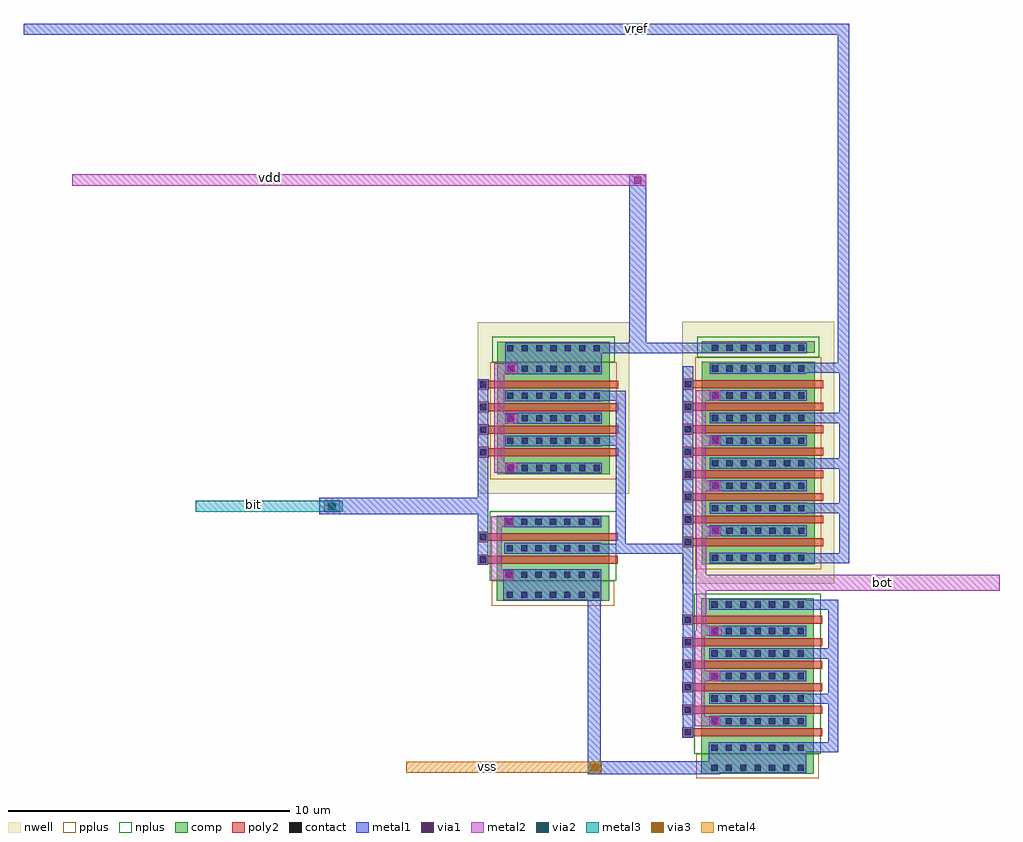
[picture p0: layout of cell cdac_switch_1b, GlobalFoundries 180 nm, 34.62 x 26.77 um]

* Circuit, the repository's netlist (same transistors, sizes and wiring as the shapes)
** sch_path: /foss/designs/chipathon26-SAR_ADC/xschem/sar_adc/blocks/cdac/cdac_switch_1b.sch
.subckt cdac_switch_1b bit vref vdd vss bot
*.PININFO bit:I vref:B vdd:B vss:B bot:B
M1 bit_b bit vdd vdd pfet_03v3 L=0.28u W=16.0u nf=4
M2 bit_b bit vss vss nfet_03v3 L=0.28u W=8.0u nf=2
M3 bot bit_b vref vdd pfet_03v3 L=0.28u W=32.0u nf=8
M6 bot bit_b vss vss nfet_03v3 L=0.28u W=24.0u nf=6
.ends

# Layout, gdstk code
import gdstk
lib = gdstk.Library(unit=1e-6, precision=1e-09)
def R(c, l, rs):  # rectangles x0, y0, x1, y1
    for r in rs: c.add(gdstk.rectangle(r[:2], r[2:], *l))
def A(c, l, x, y, w, h, nx, ny, dx, dy):  # array of equal rectangles
    R(c, l, [(x+i*dx, y+j*dy, x+i*dx+w, y+j*dy+h) for i in range(nx) for j in range(ny)])
nwell = (21, 0)
comp = (22, 0)
poly2 = (30, 0)
pplus = (31, 0)
nplus = (32, 0)
contact = (33, 0)
metal1 = (34, 0)
via1 = (35, 0)
metal2 = (36, 0)
via2 = (38, 0)
via3 = (40, 0)
metal3 = (42, 0)
metal4 = (46, 0)

gf180mcu_nfet_l_0_280_w_ = lib.new_cell('gf180mcu.nfet(L=0.280,W=2.000)')

c_gf180mcu_nfet_l_0_280_w_ = lib.new_cell('gf180mcu.nfet(L=0.280,W=4.000)')

gf180mcu_pfet_l_0_280_w_ = lib.new_cell('gf180mcu.pfet(L=0.280,W=4.000)')

c_gf180mcu_pfet_l_0_280_w_ = lib.new_cell('gf180mcu.pfet(L=0.280,W=8.000)')

cdac_switch_1b = lib.new_cell('cdac_switch_1b')
R(cdac_switch_1b, nwell, [(12.88,12.8,18.26,22.09), (5.62,15.99,11,22.08)])
R(cdac_switch_1b, comp, [(13.55,6.07,17.55,6.78), (13.55,6.78,17.55,7.2), (13.55,7.2,17.55,11.86), (13.55,11.86,17.55,12.28), (6.29,12.2,10.29,12.91), (6.29,12.91,10.29,13.33), (6.29,13.33,10.29,14.79), (13.57,13.49,17.57,13.95), (13.57,13.95,17.57,20.21), (6.29,14.79,10.29,15.21), (6.31,16.68,10.31,17.14), (6.31,17.14,10.31,20.2), (6.31,20.2,10.31,20.66), (13.57,20.21,17.57,20.67), (6.31,20.66,10.31,21.39), (13.57,20.99,17.57,21.4)])
A(cdac_switch_1b, poly2, 12.89, 7.35, 0.36, 0.36, 1, 6, 0, 0.8)
A(cdac_switch_1b, poly2, 13.25, 7.39, 4.6, 0.28, 1, 6, 0, 0.8)
A(cdac_switch_1b, poly2, 12.89, 14.09, 0.38, 0.38, 1, 8, 0, 0.8)
A(cdac_switch_1b, poly2, 13.27, 14.14, 4.6, 0.28, 1, 8, 0, 0.8)
A(cdac_switch_1b, poly2, 5.63, 17.28, 0.38, 0.38, 1, 4, 0, 0.8)
A(cdac_switch_1b, poly2, 6.01, 17.33, 4.6, 0.28, 1, 4, 0, 0.8)
R(cdac_switch_1b, poly2, [(5.63,13.48,5.99,13.84), (5.99,13.52,10.59,13.8), (5.63,14.28,5.99,14.64), (5.99,14.32,10.59,14.6)])
R(cdac_switch_1b, pplus, [(13.38,5.9,17.72,6.78), (6.12,12.03,10.46,12.91), (13.33,13.32,17.81,20.83), (6.07,16.51,10.55,20.66)])
R(cdac_switch_1b, nplus, [(13.31,6.78,17.79,12.45), (6.05,12.91,10.53,15.38), (6.14,20.66,10.48,21.56), (13.4,20.83,17.74,21.57)])
A(cdac_switch_1b, contact, 13.91, 6.17, 0.22, 0.22, 7, 2, 0.51, 0.71)
A(cdac_switch_1b, contact, 12.96, 7.42, 0.22, 0.22, 1, 6, 0, 0.8)
A(cdac_switch_1b, contact, 13.91, 7.82, 0.22, 0.22, 7, 5, 0.51, 0.8)
A(cdac_switch_1b, contact, 13.91, 11.96, 0.22, 0.22, 7, 1, 0.51, 0)
A(cdac_switch_1b, contact, 6.65, 12.3, 0.22, 0.22, 7, 2, 0.51, 0.71)
A(cdac_switch_1b, contact, 13.93, 13.61, 0.22, 0.22, 7, 2, 0.51, 0.96)
A(cdac_switch_1b, contact, 6.65, 13.95, 0.22, 0.22, 7, 2, 0.51, 0.94)
A(cdac_switch_1b, contact, 12.97, 14.17, 0.22, 0.22, 1, 8, 0, 0.8)
A(cdac_switch_1b, contact, 13.93, 15.37, 0.22, 0.22, 7, 6, 0.51, 0.8)
A(cdac_switch_1b, contact, 6.67, 16.8, 0.22, 0.22, 7, 2, 0.51, 0.96)
A(cdac_switch_1b, contact, 5.71, 17.36, 0.22, 0.22, 1, 4, 0, 0.8)
A(cdac_switch_1b, contact, 6.67, 18.56, 0.22, 0.22, 7, 2, 0.51, 0.8)
A(cdac_switch_1b, contact, 6.67, 20.32, 0.22, 0.22, 7, 2, 0.51, 0.73)
A(cdac_switch_1b, contact, 13.93, 20.33, 0.22, 0.22, 7, 2, 0.51, 0.73)
R(cdac_switch_1b, contact, [(5.7,13.55,5.92,13.77), (5.7,14.35,5.92,14.57)])
A(cdac_switch_1b, metal1, 12.88, 7.34, 0.38, 0.38, 1, 6, 0, 0.8)
A(cdac_switch_1b, metal1, 13.83, 7.74, 3.44, 0.38, 1, 5, 0, 0.8)
A(cdac_switch_1b, metal1, 6.57, 12.93, 3.44, 0.38, 1, 3, 0, 0.94)
A(cdac_switch_1b, metal1, 12.89, 14.09, 0.38, 0.38, 1, 8, 0, 0.8)
A(cdac_switch_1b, metal1, 13.85, 14.49, 3.44, 0.38, 1, 7, 0, 0.8)
A(cdac_switch_1b, metal1, 5.63, 17.28, 0.38, 0.38, 1, 4, 0, 0.8)
A(cdac_switch_1b, metal1, 6.59, 17.68, 3.44, 0.38, 1, 3, 0, 0.8)
R(cdac_switch_1b, metal1, [(13.82,6.09,17.27,7.18), (13.83,6.09,17.27,6.47), (13.83,6.8,17.27,7.18), (12.89,7.34,13.27,20.52), (13.83,11.88,17.27,12.26), (6.53,12.22,10.01,13.31), (6.57,12.22,10.01,12.6), (5.62,13.47,6,13.85), (5.625,13.47,6,20.065), (13.85,13.53,17.29,13.91), (10.51,13.86,13.27,14.23), (5.62,14.27,6,14.65), (0,15.26,6,15.86), (6.59,16.72,10.03,17.1), (6.59,20.24,10.03,20.62), (6.59,20.245,10.03,21.355), (13.85,20.25,17.29,20.63), (6.59,20.97,10.03,21.35), (9.56,20.97,11.33,21.345), (11,20.97,11.6,27.32), (11.33,20.97,14.25,21.345), (13.85,20.98,17.29,21.36)])
A(cdac_switch_1b, via1, 13.93, 14.55, 0.26, 0.26, 1, 4, 0, 1.6)
R(cdac_switch_1b, via1, [(9.645,6.16,9.905,6.42), (13.9,7.8,14.16,8.06), (13.89,9.39,14.15,9.65), (13.9,11,14.16,11.26), (6.59,12.99,6.85,13.25), (6.59,14.87,6.85,15.13), (0.305,15.425,0.565,15.685), (6.65,16.78,6.91,17.04), (6.66,18.54,6.92,18.8), (6.67,20.31,6.93,20.57), (11.17,26.985,11.43,27.245)])
R(cdac_switch_1b, metal2, [(9.59,6.09,9.99,6.49), (13.36,12.55,24.13,13.13), (0.17,15.34,0.73,15.77), (-8.76,26.92,11.6,27.32)])
R(cdac_switch_1b, via2, [(9.665,6.155,9.925,6.415), (0.34,15.405,0.6,15.665)])
R(cdac_switch_1b, via3, [(9.65,6.165,9.91,6.425)])
R(cdac_switch_1b, metal3, [(9.58,6.095,10,6.495), (-4.38,15.355,0.83,15.755)])
R(cdac_switch_1b, metal4, [(3.08,6.095,10.02,6.495)])
cdac_switch_1b.add(gdstk.FlexPath([(10.69,17.88),(10.69,14.05),(9.6,14.05)], 0.36, ends="flush", simple_path=True, layer=34, datatype=0))  # metal1
cdac_switch_1b.add(gdstk.FlexPath([(9.6,19.47),(10.69,19.47),(10.69,17.88),(9.6,17.88)], 0.36, ends="flush", simple_path=True, layer=34, datatype=0))  # metal1
cdac_switch_1b.add(gdstk.FlexPath([(18.23,10.33),(18.23,12.06),(16.9,12.06)], 0.36, ends="flush", simple_path=True, layer=34, datatype=0))  # metal1
cdac_switch_1b.add(gdstk.FlexPath([(18.23,8.72),(18.23,10.33),(16.9,10.33)], 0.36, ends="flush", simple_path=True, layer=34, datatype=0))  # metal1
cdac_switch_1b.add(gdstk.FlexPath([(16.9,7),(18.23,7),(18.23,8.72),(16.9,8.72)], 0.36, ends="flush", simple_path=True, layer=34, datatype=0))  # metal1
cdac_switch_1b.add(gdstk.FlexPath([(14.2,6.28),(9.75,6.28),(9.75,12.6)], 0.46, ends="flush", simple_path=True, layer=34, datatype=0))  # metal1
cdac_switch_1b.add(gdstk.FlexPath([(18.62,15.48),(18.62,13.71),(16.8,13.71)], 0.36, ends="flush", simple_path=True, layer=34, datatype=0))  # metal1
cdac_switch_1b.add(gdstk.FlexPath([(18.62,17.07),(18.62,15.48),(16.8,15.48)], 0.36, ends="flush", simple_path=True, layer=34, datatype=0))  # metal1
cdac_switch_1b.add(gdstk.FlexPath([(18.62,18.68),(18.62,17.07),(16.8,17.07)], 0.36, ends="flush", simple_path=True, layer=34, datatype=0))  # metal1
cdac_switch_1b.add(gdstk.FlexPath([(16.8,20.46),(18.62,20.46),(18.62,18.68),(16.8,18.68)], 0.36, ends="flush", simple_path=True, layer=34, datatype=0))  # metal1
cdac_switch_1b.add(gdstk.FlexPath([(18.6,20.28),(18.6,32.47),(-10.49,32.47)], 0.4, ends="flush", simple_path=True, layer=34, datatype=0))  # metal1
cdac_switch_1b.add(gdstk.FlexPath([(6.89,15.01),(6.29,15.01),(6.29,13.11),(6.89,13.11)], 0.36, ends="flush", simple_path=True, layer=36, datatype=0))  # metal2
cdac_switch_1b.add(gdstk.FlexPath([(6.38,18.66),(6.38,16.92),(7.03,16.92)], 0.36, ends="flush", simple_path=True, layer=36, datatype=0))  # metal2
cdac_switch_1b.add(gdstk.FlexPath([(7.05,20.44),(6.38,20.44),(6.38,18.66),(7.04,18.66)], 0.36, ends="flush", simple_path=True, layer=36, datatype=0))  # metal2
cdac_switch_1b.add(gdstk.FlexPath([(13.5,9.53),(13.5,7.93),(14.22,7.93)], 0.36, ends="flush", simple_path=True, layer=36, datatype=0))  # metal2
cdac_switch_1b.add(gdstk.FlexPath([(13.5,11.13),(13.5,9.53),(14.22,9.53)], 0.36, ends="flush", simple_path=True, layer=36, datatype=0))  # metal2
cdac_switch_1b.add(gdstk.FlexPath([(13.55,15.12),(13.55,11.13),(14.27,11.13)], 0.36, ends="flush", simple_path=True, layer=36, datatype=0))  # metal2
cdac_switch_1b.add(gdstk.FlexPath([(13.53,16.27),(13.53,14.67),(14.25,14.67)], 0.36, ends="flush", simple_path=True, layer=36, datatype=0))  # metal2
cdac_switch_1b.add(gdstk.FlexPath([(13.53,17.87),(13.53,16.27),(14.25,16.27)], 0.36, ends="flush", simple_path=True, layer=36, datatype=0))  # metal2
cdac_switch_1b.add(gdstk.FlexPath([(14.25,19.48),(13.53,19.48),(13.53,17.87),(14.25,17.87)], 0.36, ends="flush", simple_path=True, layer=36, datatype=0))  # metal2
cdac_switch_1b.add(gdstk.Reference(gf180mcu_nfet_l_0_280_w_, (0,0)))
cdac_switch_1b.add(gdstk.Reference(c_gf180mcu_nfet_l_0_280_w_, (0,0)))
cdac_switch_1b.add(gdstk.Reference(gf180mcu_pfet_l_0_280_w_, (0,0)))
cdac_switch_1b.add(gdstk.Reference(c_gf180mcu_pfet_l_0_280_w_, (0,0)))
cdac_switch_1b.add(gdstk.Label('vref', (11.245,32.485), layer=34, texttype=10))
cdac_switch_1b.add(gdstk.Label('bot', (19.98,12.86), layer=36, texttype=10))
cdac_switch_1b.add(gdstk.Label('vdd', (-1.715,27.215), layer=36, texttype=10))
cdac_switch_1b.add(gdstk.Label('bit', (-2.32,15.61), layer=42, texttype=10))
cdac_switch_1b.add(gdstk.Label('vss', (5.965,6.335), layer=46, texttype=10))

lib.write_gds('cdac_switch_1b.gds')
